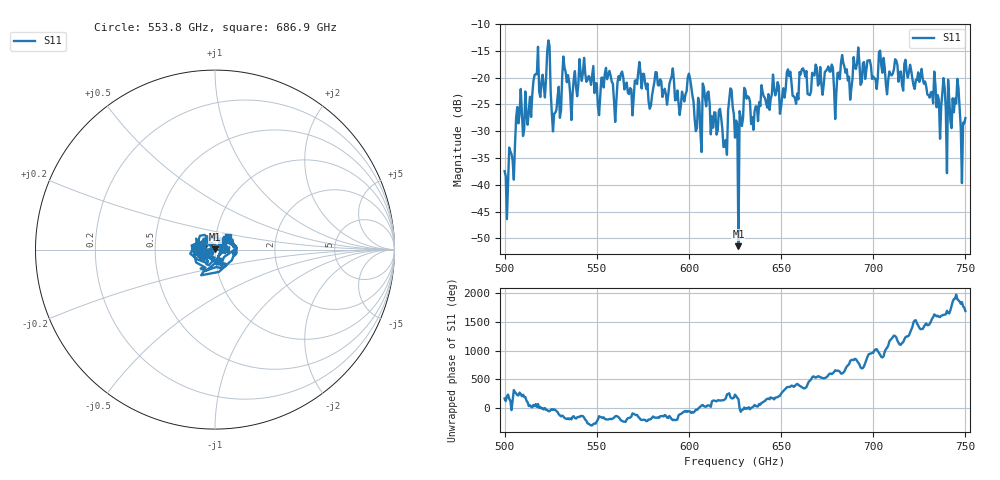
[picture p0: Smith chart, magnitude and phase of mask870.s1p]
!Created with skrf (http://scikit-rf.org).
# GHz S MA R 50.0
!freq magS11 angS11
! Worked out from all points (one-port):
!   401 points, 500 GHz to 750 GHz, reference 50 ohm
!   lowest |S11| = -51.5 dB at 626.9 GHz (marker M1), VSWR 1.01, Z = 49.8 + j0.105 ohm
!   |S11| at or under -10 dB: start of sweep to end of sweep
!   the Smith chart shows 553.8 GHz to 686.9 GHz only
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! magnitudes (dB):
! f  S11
! 500 GHz  -37.5
! 507.5 GHz  -28.5
! 513.1 GHz  -26.3
! 516.9 GHz  -19.3
! 520.6 GHz  -19.5
! 523.8 GHz  -13.1
! 526.9 GHz  -26.7
! 531.2 GHz  -19.8
! 562.5 GHz  -20.5
! 579.4 GHz  -25.2
! 590.6 GHz  -19.8
! 593.8 GHz  -22.4
! 600.6 GHz  -20.2
! 605.6 GHz  -24.6
! 608.8 GHz  -23.8
! 619.4 GHz  -32.9
! 622.5 GHz  -22.0
! 625 GHz  -31.2
! 626.9 GHz  -51.5
! 631.2 GHz  -23.9
! 635 GHz  -29.8
! 656.2 GHz  -23.4
! 680 GHz  -22.7
! 683.8 GHz  -17.3
! 687.5 GHz  -24.1
! 690.6 GHz  -18.4
! 718.8 GHz  -20.0
! 750 GHz  -27.6
